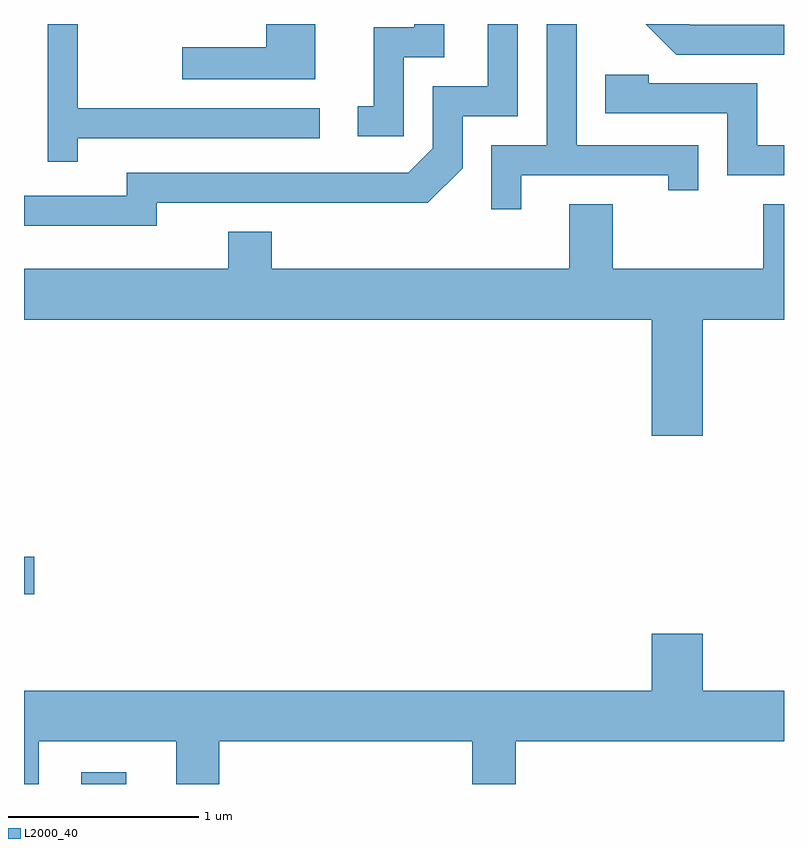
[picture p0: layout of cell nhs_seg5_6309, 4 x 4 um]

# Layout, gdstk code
import gdstk
lib = gdstk.Library(unit=1e-6, precision=1e-09)
def R(c, l, rs):  # rectangles x0, y0, x1, y1
    for r in rs: c.add(gdstk.rectangle(r[:2], r[2:], *l))
def P(c, l, *ps):  # polygons
    for p in ps: c.add(gdstk.Polygon(p, *l))
L2000_40 = (2000, 40)

nhs_seg5_6309 = lib.new_cell('nhs_seg5_6309')
R(nhs_seg5_6309, L2000_40, [(371.913,1512.072,372.149,1512.134), (371.611,1513.071,371.664,1513.269)])
P(nhs_seg5_6309, L2000_40, [(373.609,1515.896),(373.824,1515.896),(373.824,1516.072),(373.666,1516.072),(373.666,1516.054),(373.451,1516.054),(373.451,1515.639),(373.368,1515.639),(373.368,1515.481),(373.609,1515.481)],
  [(374.229,1515.276),(375.001,1515.276),(375.001,1515.198),(375.159,1515.198),(375.159,1515.434),(374.519,1515.434),(374.519,1516.072),(374.361,1516.072),(374.361,1515.434),(374.071,1515.434),(374.071,1515.098),(374.229,1515.098)],
  [(375.611,1516.069),(375.117,1516.069),(375.114,1516.072),(374.883,1516.072),(375.044,1515.911),(375.611,1515.911)],
  [(373.144,1516.072),(372.886,1516.072),(372.886,1515.949),(372.443,1515.949),(372.443,1515.781),(373.144,1515.781)],
  [(371.894,1515.471),(373.168,1515.471),(373.168,1515.629),(371.894,1515.629),(371.894,1516.072),(371.736,1516.072),(371.736,1515.348),(371.894,1515.348)],
  [(372.309,1515.131),(373.737,1515.131),(373.919,1515.314),(373.919,1515.586),(374.209,1515.586),(374.209,1516.072),(374.051,1516.072),(374.051,1515.744),(373.761,1515.744),(373.761,1515.417),(373.634,1515.289),(372.151,1515.289),(372.151,1515.169),(371.611,1515.169),(371.611,1515.011),(372.309,1515.011)],
  [(375.611,1515.434),(375.469,1515.434),(375.469,1515.759),(374.899,1515.759),(374.899,1515.804),(374.671,1515.804),(374.671,1515.601),(375.311,1515.601),(375.311,1515.276),(375.611,1515.276)],
  [(374.481,1515.124),(374.481,1514.784),(372.914,1514.784),(372.914,1514.979),(372.686,1514.979),(372.686,1514.784),(371.611,1514.784),(371.611,1514.516),(374.916,1514.516),(374.916,1513.906),(375.184,1513.906),(375.184,1514.516),(375.611,1514.516),(375.611,1515.124),(375.501,1515.124),(375.501,1514.784),(374.709,1514.784),(374.709,1515.124)],
  [(371.689,1512.296),(372.411,1512.296),(372.411,1512.072),(372.639,1512.072),(372.639,1512.296),(373.971,1512.296),(373.971,1512.072),(374.199,1512.072),(374.199,1512.296),(375.611,1512.296),(375.611,1512.564),(375.184,1512.564),(375.184,1512.864),(374.916,1512.864),(374.916,1512.564),(371.611,1512.564),(371.611,1512.072),(371.689,1512.072)])

lib.write_gds('nhs_seg5_6309.gds')
